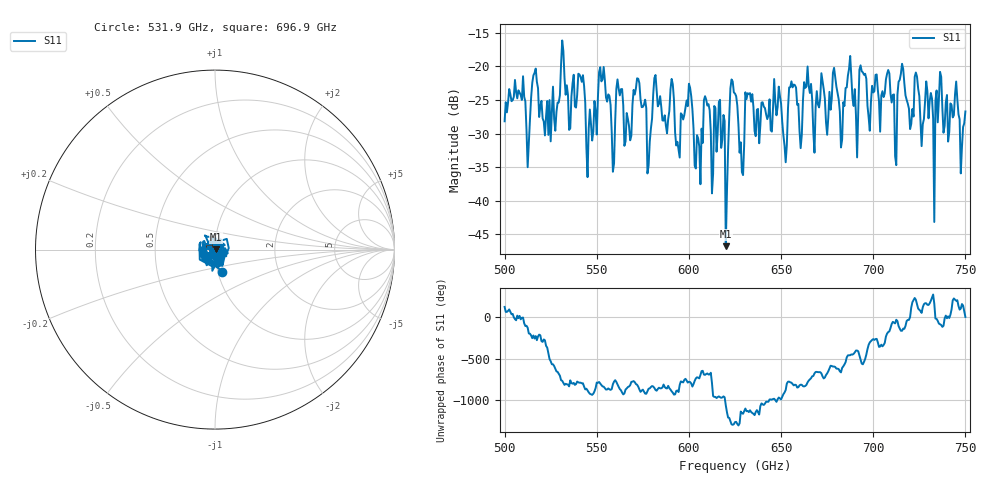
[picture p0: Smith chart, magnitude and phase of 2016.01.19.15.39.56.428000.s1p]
!Created with skrf (http://scikit-rf.org).
# GHz S RI R 50.0
!freq ReS11 ImS11
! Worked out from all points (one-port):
!   401 points, 500 GHz to 750 GHz, reference 50 ohm
!   lowest |S11| = -46.7 dB at 620 GHz (marker M1), VSWR 1.01, Z = 50.4 + j0.132 ohm
!   |S11| at or under -10 dB: start of sweep to end of sweep
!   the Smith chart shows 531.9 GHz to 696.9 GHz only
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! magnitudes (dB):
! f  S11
! 500 GHz  -28.2
! 513.1 GHz  -31.4
! 516.2 GHz  -21.0
! 526.2 GHz  -23.0
! 531.2 GHz  -16.2
! 541.9 GHz  -22.3
! 545.6 GHz  -29.3
! 552.5 GHz  -22.2
! 558.8 GHz  -35.7
! 562.5 GHz  -24.3
! 572.5 GHz  -21.9
! 578.8 GHz  -31.2
! 581.2 GHz  -21.8
! 590.6 GHz  -21.9
! 593.8 GHz  -31.2
! 600 GHz  -22.6
! 605 GHz  -30.7
! 609.4 GHz  -25.0
! 620 GHz  -46.7
! 625 GHz  -24.1
! 628.8 GHz  -35.7
! 631.9 GHz  -24.0
! 651.9 GHz  -31.8
! 656.2 GHz  -23.1
! 683.1 GHz  -30.9
! 687.5 GHz  -18.5
! 718.8 GHz  -25.6
! 750 GHz  -26.7
